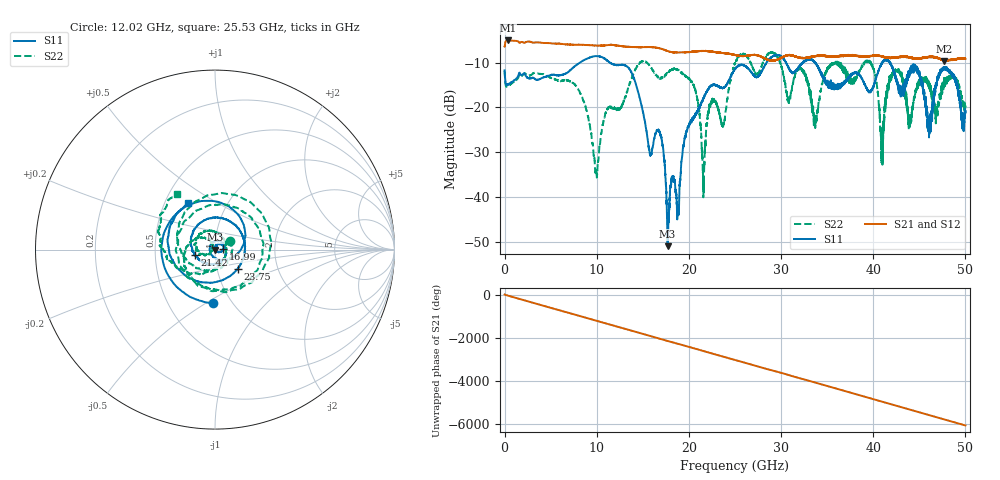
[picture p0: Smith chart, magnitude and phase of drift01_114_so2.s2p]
!Created with skrf (http://scikit-rf.org).
# Hz S RI R 50.0
!freq ReS11 ImS11 ReS21 ImS21 ReS12 ImS12 ReS22 ImS22
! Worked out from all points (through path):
!   10001 points, 300 kHz to 50 GHz, reference 50 ohm
!   highest |S21| = -5.06 dB at 365.3 MHz (marker M1); lowest = -9.6 dB at 47.67 GHz (marker M2)
!   group delay of S21, straight-line fit = 336 ps
!   lowest |S11| = -50.9 dB at 17.69 GHz (marker M3), VSWR 1.01, Z = 50.3 - j0.0625 ohm
!   |S11| at or under -10 dB: start of sweep to 8.154 GHz; 11.43 GHz to 28.42 GHz (16.98 GHz wide, 85.2 % of centre); 41.82 GHz to end of sweep (the widest 3 of 12)
!   |S22| runs from -40.0 to -7.7 dB; largest |S21 - S12| = 0.016
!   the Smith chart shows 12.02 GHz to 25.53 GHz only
!   S11 on the Smith chart (normalised r, x): 12.02 GHz: 0.82, -0.54; 16.99 GHz: 1.10, +0.00; 21.42 GHz: 0.80, -0.05; 23.75 GHz: 1.26, -0.28; 25.53 GHz: 0.66, +0.37
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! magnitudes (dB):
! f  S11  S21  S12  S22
! 300 kHz  -11.7  -6.4  -6.5  -11.8
! 365.3 MHz  -14.8  -5.1  -5.1  -15.3
! 8.335 GHz  -9.8  -6.0  -6.0  -17.5
! 9.935 GHz  -8.6  -6.2  -6.2  -34.4
! 12.02 GHz  -10.5  -6.1  -6.1  -20.4
! 16.67 GHz  -24.9  -6.7  -6.7  -13.3
! 16.99 GHz  -26.6  -6.9  -6.9  -13.5
! 17.69 GHz  -50.9  -7.4  -7.4  -12.3
! 20.47 GHz  -22.4  -7.5  -7.5  -14.9
! 21.42 GHz  -18.7  -7.4  -7.4  -29.8
! 22.47 GHz  -15.1  -7.5  -7.5  -19.1
! 23.75 GHz  -15.6  -7.9  -7.8  -24.0
! 25 GHz  -11.4  -8.3  -8.3  -10.2
! 25.53 GHz  -10.5  -8.5  -8.5  -8.5
! 33.34 GHz  -9.4  -8.7  -8.7  -19.7
! 39.49 GHz  -16.4  -8.6  -8.5  -9.9
! 40.95 GHz  -10.2  -8.6  -8.5  -28.2
! 41.67 GHz  -9.6  -8.8  -8.9  -14.5
! 44.77 GHz  -11.5  -9.1  -9.1  -15.0
! 46.1 GHz  -25.4  -8.7  -8.7  -14.9
! 47.67 GHz  -11.3  -9.6  -9.5  -14.4
! 50 GHz  -20.9  -9.2  -9.1  -20.2
